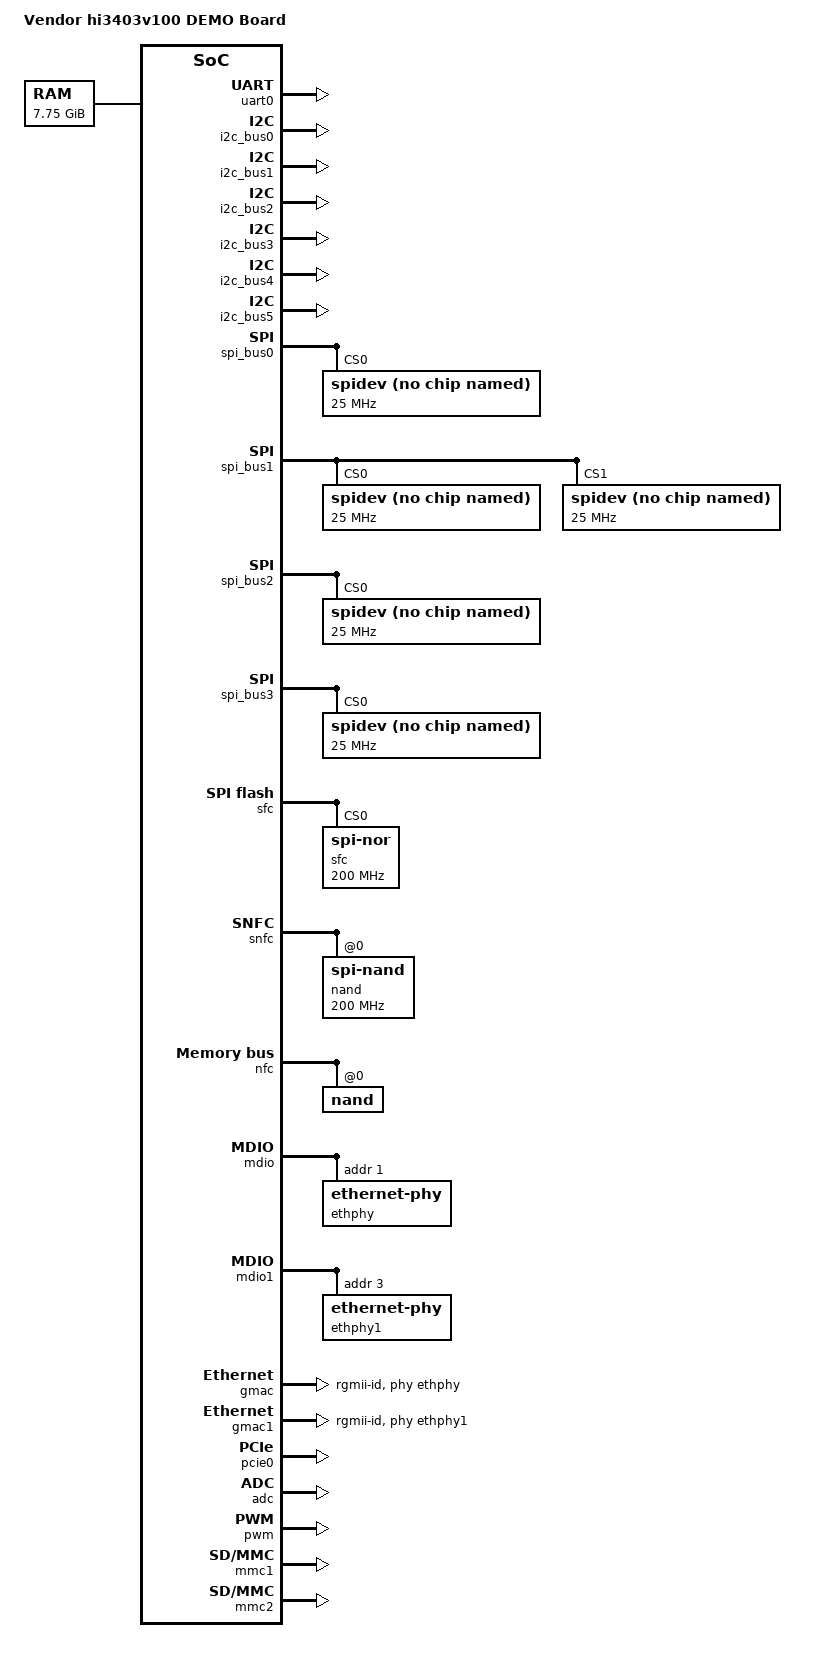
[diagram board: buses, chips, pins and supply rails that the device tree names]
/* Copyright (c) 2025 HiSilicon (Shanghai) Technologies Co., Ltd.
 *
 * This program is free software; you can redistribute  it and/or modify it
 * under  the terms of  the GNU General  Public License as published by the
 * Free Software Foundation;  either version 2 of the  License, or (at your
 * option) any later version.
 *
 * This program is distributed in the hope that it will be useful,
 * but WITHOUT ANY WARRANTY; without even the implied warranty of
 * MERCHANTABILITY or FITNESS FOR A PARTICULAR PURPOSE. See the
 * GNU General Public License for more details.
 *
 * You should have received a copy of the GNU General Public License
 * along with this program.  If not, see <http://www.gnu.org/licenses/>.
 *
 */

/dts-v1/;
/* reserved for warmreset */
/* reserved for arm trustedfirmware */
/* Modify this configuration according to the system framework */
/memreserve/ 0x52fff000 0x01a02000;
#include "hi3403v100.dtsi"

/ {
	model = "Vendor hi3403v100 DEMO Board";
	compatible = "vendor,hi3403v100";

	aliases {
		serial0 = &uart0;

		serial1 = &uart1;
		serial2 = &uart2;
		serial3 = &uart3;
		serial4 = &uart4;
		serial5 = &uart5;

		i2c0 = &i2c_bus0;
		i2c1 = &i2c_bus1;
		i2c2 = &i2c_bus2;
		i2c3 = &i2c_bus3;
		i2c4 = &i2c_bus4;
		i2c5 = &i2c_bus5;

		spi0 = &spi_bus0;
		spi1 = &spi_bus1;
		spi2 = &spi_bus2;
		spi3 = &spi_bus3;

		gpio0 = &gpio_chip0;
		gpio1 = &gpio_chip1;
		gpio2 = &gpio_chip2;
		gpio3 = &gpio_chip3;
		gpio4 = &gpio_chip4;
		gpio5 = &gpio_chip5;
		gpio6 = &gpio_chip6;
		gpio7 = &gpio_chip7;
		gpio8 = &gpio_chip8;
		gpio9 = &gpio_chip9;
		gpio10 = &gpio_chip10;
		gpio11 = &gpio_chip11;
		gpio12 = &gpio_chip12;
		gpio13 = &gpio_chip13;
		gpio14 = &gpio_chip14;
		gpio15 = &gpio_chip15;
		gpio16 = &gpio_chip16;
		gpio17 = &gpio_chip17;
	};

	chosen {
		bootargs = "earlycon=pl011,0x11040000 mem=512M console=ttyAMA0,115200 clk_ignore_unused root=/dev/mtdblock2 rootfstype=yaffs2 rw mtdparts=bspnand:1M(boot),9M(kernel),32M(rootfs),1M(this_bootargs_string_is_reserved_for_bootargs_form_uboot!!!_it_must_be_longer_than_bootargs_form_uboot!!!_this_bootargs_string_is_reserved_for_bootargs_form_uboot!!!_it_must_be_longer_than_bootargs_form_uboot!!!_this_bootargs_string_is_reserved_for_bootargs_form_uboot!!!_it_must_be_longer_than_bootargs_form_uboot!!!_this_bootargs_string_is_reserved_for_bootargs_form_uboot!!!_it_must_be_longer_than_bootargs_form_uboot!!!_this_bootargs_string_is_reserved_for_bootargs_form_uboot!!!_it_must_be_longer_than_bootargs_form_uboot!!!)";

		linux,initrd-start = <0x60000040>;
		linux,initrd-end = <0x61000000>;
	};

	cpus {
		#address-cells = <2>;
		#size-cells = <0>;

		cpu@0 {
			compatible = "arm,cortex-a55";
			device_type = "cpu";
			reg = <0x0 0x0>;
			enable-method = "psci";
			//clock-latency = <100000>; /* From legacy driver */
		};

		cpu@1 {
			compatible = "arm,cortex-a55";
			device_type = "cpu";
			reg = <0x0 0x100>;
			enable-method = "psci";
			//clock-latency = <200000>; /* From legacy driver */
		};

		cpu@2 {
			compatible = "arm,cortex-a55";
			device_type = "cpu";
			reg = <0x0 0x200>;
			enable-method = "psci";
		};

		cpu@3 {
			compatible = "arm,cortex-a55";
			device_type = "cpu";
			reg = <0x0 0x300>;
			enable-method = "psci";
		};
	};

	memory {
		device_type = "memory";
		reg = <0x0 0x50000000 0x1 0xf0000000>; /* system memory base */
	};
};

&ipcm {
	status = "okay";
};

&uart0 {
	status = "okay";
};

&uart1 {
	status = "disabled";
};

&uart2 {
	status = "disabled";
};

&uart3 {
	status = "disabled";
};

&uart4 {
	status = "disabled";
};
&uart5 {
	status = "disabled";
};

&i2c_bus0 {
	status = "okay";
};

&i2c_bus1 {
	status = "okay";
};

&i2c_bus2 {
	status = "okay";
};

&i2c_bus3 {
	status = "okay";
};

&i2c_bus4 {
	status = "okay";
};

&i2c_bus5 {
	status = "okay";
};

&spi_bus0{
	status = "okay";

	spidev@0 {
		compatible = "rohm,dh2228fv";
		reg = <0>;
		pl022,interface = <0>;
		pl022,com-mode = <0>;
		spi-max-frequency = <25000000>;
	};
};

&spi_bus1{
	status = "okay";
	spidev@0 {
		compatible = "rohm,dh2228fv";
		reg = <0>;
		pl022,interface = <0>;
		pl022,com-mode = <0>;
		spi-max-frequency = <25000000>;
	};
	spidev@1 {
		compatible = "rohm,dh2228fv";
		reg = <1>;
		pl022,interface = <0>;
		pl022,com-mode = <0>;
		spi-max-frequency = <25000000>;
	};
};

&spi_bus2{
	status = "okay";
	spidev@0 {
		compatible = "rohm,dh2228fv";
		reg = <0>;
		pl022,interface = <0>;
		pl022,com-mode = <0>;
		spi-max-frequency = <25000000>;
	};
};

&spi_bus3{
	status = "okay";

	spidev@0 {
		compatible = "rohm,dh2228fv";
		reg = <0>;
		pl022,interface = <0>;
		pl022,com-mode = <0>;
		spi-max-frequency = <25000000>;
	};
};

&gpio_chip0 {
	status = "okay";
};

&gpio_chip1 {
	status = "okay";
};

&gpio_chip2 {
	status = "okay";
};

&gpio_chip3 {
	status = "okay";
};

&gpio_chip4 {
	status = "okay";
};

&gpio_chip5 {
	status = "okay";
};

&gpio_chip6 {
	status = "okay";
};

&gpio_chip7 {
	status = "okay";
};

&gpio_chip8 {
	status = "okay";
};

&gpio_chip9 {
	status = "okay";
};

&gpio_chip10 {
	status = "okay";
};

&gpio_chip11 {
	status = "okay";
};

&gpio_chip12 {
	status = "okay";
};

&gpio_chip13 {
	status = "okay";
};

&gpio_chip14 {
	status = "okay";
};

&gpio_chip15 {
	status = "okay";
};
&gpio_chip16 {
	status = "okay";
};
&gpio_chip17 {
	status = "okay";
};

&sfc {
	sfc@0 {
		compatible = "jedec,spi-nor";
		reg = <0>;
		spi-max-frequency = <200000000>;
		m25p,fast-read;
	};
};

&snfc {
	nand@0 {
		compatible = "jedec,spi-nand";
		reg = <0>;
		spi-max-frequency = <200000000>;
	};
};

&nfc {
	nand@0 {
		compatible = "jedec,nand";
		reg = <0>;
		nand-max-frequency = <200000000>;
	};
};

&mdio {
	ethphy: ethernet-phy@1 {
		reg = <1>;
	};
};
&mdio1 {
	ethphy1: ethernet-phy@3 {
		reg = <3>;
	};
};

&gmac {
	phy-handle = <&ethphy>;
	phy-mode = "rgmii-id";
};

&gmac1 {
	phy-handle = <&ethphy1>;
	phy-mode = "rgmii-id";
};

&pcie0 {
	status = "okay";
};

&edmacv310_0 {
	status = "disabled";
};

&adc {
	status = "okay";
};

&pwm {
	status = "okay";
};

&mmc1 {
	status = "okay";
};

&mmc2 {
	status = "okay";
};
